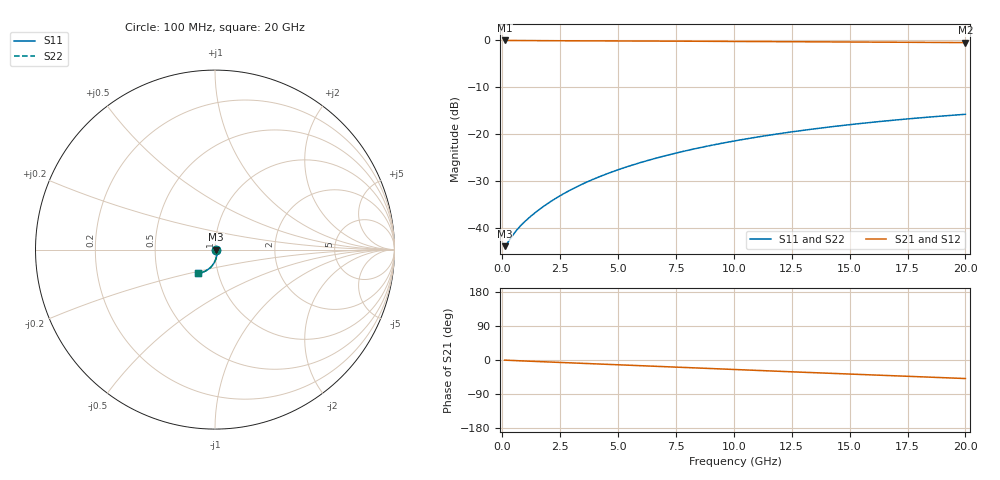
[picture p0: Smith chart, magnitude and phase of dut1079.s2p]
! Touchstone file exported from HFSS 2026.1.0
!  File:  C:/ffzhzh/LocalFiles/Ansys_Project_Files/temp_train_TMRDL_1079_1783160869_43440.aedt
!  Generated:  06:29:15 PM Jul  4, 2026
!  Design:  TMRDL
!  Project:  temp_train_TMRDL_1079_1783160869_43440
! Variables:
!  h_bsmrdl = 2um
!  h_ox = 20um
!  h_rdl = 5um
!  h_sub = 80um
!  h_tmrdl = 3.23um
!  h_tsv = 80um
!  h_via = 3um
!  l_bsmrdl = 300um
!  l_sub = 1256.95um
!  l_tmrdl = 856.95um
!  m_sub = 200um
!  pitch = 16.98um
!  r_tsv = 6um
!  s_tmrdl = 10um
!  w_bsmrdl = 18um
!  w_sub = 500um
!  w_tmrdl = 15.17um
!  x_tsv_center1 = 864.535um
!  x_tsv_center2 = 1182.535um
!  x_tsv_center3 = 2054.655um
!  x_tsv_center4 = 2372.655um
!  x_tsv_center5 = 3244.775um
!  x_tsv_center6 = 3562.775um
# GHz S MA R 50.000000
! Terminal data exported
! Port[1] = TM_RDL1_1_T1
! Port[2] = TM_RDL1_1_T2
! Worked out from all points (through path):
!   200 points, 100 MHz to 20 GHz, reference 50 ohm
!   highest |S21| = -0.06 dB at 100 MHz (marker M1); lowest = -0.5 dB at 20 GHz (marker M2)
!   group delay of S21, straight-line fit = 6.77 ps
!   lowest |S11| = -43.9 dB at 100 MHz (marker M3), VSWR 1.01, Z = 50.6 + j0.017 ohm
!   |S11| at or under -10 dB: start of sweep to end of sweep
!   |S22| runs from -43.9 to -15.8 dB; largest |S21 - S12| = 3.5e-15
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0.1  0.006369 1.5  0.9936 -0.3  0.9936 -0.3  0.006369 1.5
! Gamma 0 0 0 0
! Port Impedance 50 0 50 0
0.2  0.006774 1.8  0.9932 -0.6  0.9932 -0.6  0.006774 1.8
0.5  0.008639 -5.9  0.9914 -1.5  0.9914 -1.5  0.008639 -5.9
0.7  0.009935 -14.0  0.9903 -2.0  0.9903 -2.0  0.009934 -14.0
1  0.01182 -25.6  0.9891 -2.7  0.9891 -2.7  0.01182 -25.6
1.4  0.01436 -38.0  0.9881 -3.7  0.9881 -3.7  0.01436 -38.0
1.9  0.01772 -49.4  0.9872 -5.0  0.9872 -5.0  0.01771 -49.4
2.4  0.02126 -57.5  0.9865 -6.2  0.9865 -6.2  0.02126 -57.5
2.9  0.02496 -63.5  0.9858 -7.5  0.9858 -7.5  0.02496 -63.6
3.5  0.02955 -69.1  0.9849 -9.0  0.9849 -9.0  0.02955 -69.1
4.2  0.03507 -74.2  0.9837 -10.8  0.9837 -10.8  0.03507 -74.2
5  0.04156 -78.8  0.9822 -12.8  0.9822 -12.8  0.04155 -78.8
5.9  0.04902 -83.0  0.9803 -15.0  0.9803 -15.0  0.04901 -83.1
6.8  0.05662 -86.7  0.9783 -17.2  0.9783 -17.2  0.05661 -86.8
8.4  0.07033 -92.5  0.9745 -21.2  0.9745 -21.2  0.07032 -92.5
10.1  0.08497 -98.0  0.9702 -25.3  0.9702 -25.3  0.08497 -98.1
11.7  0.09863 -102.8  0.9659 -29.2  0.9659 -29.2  0.09862 -102.9
13.4  0.1128 -107.8  0.9613 -33.3  0.9613 -33.3  0.1128 -107.8
15  0.1257 -112.2  0.957 -37.1  0.957 -37.1  0.1257 -112.3
16.7  0.1389 -116.9  0.9523 -41.2  0.9523 -41.2  0.1389 -117.0
18.3  0.1506 -121.1  0.9479 -44.9  0.9479 -44.9  0.1506 -121.2
20  0.1622 -125.5  0.9432 -48.9  0.9432 -48.9  0.1622 -125.7
